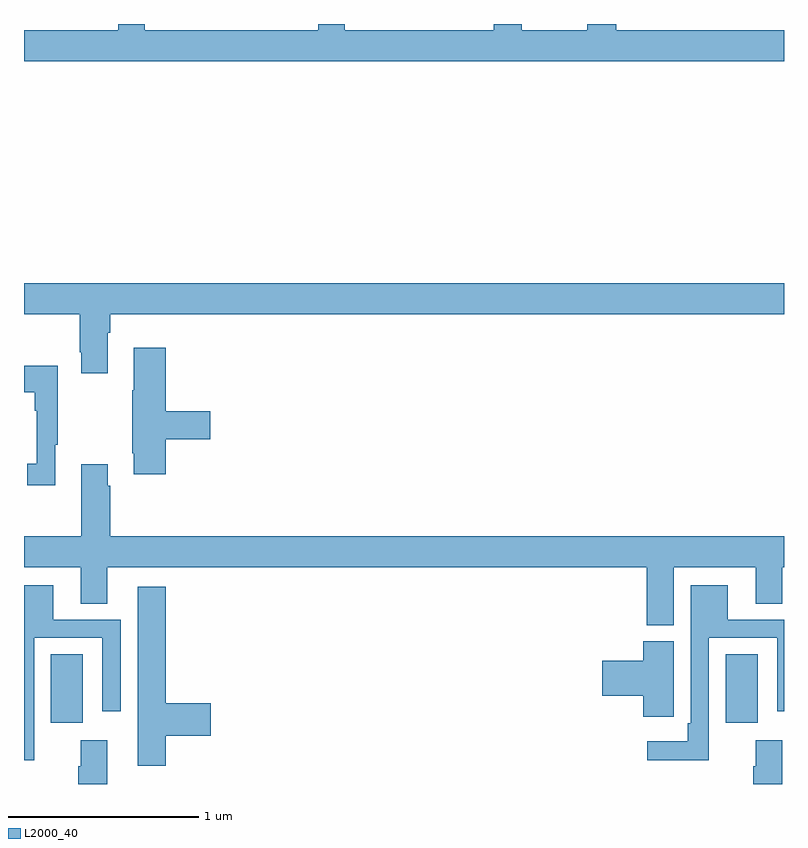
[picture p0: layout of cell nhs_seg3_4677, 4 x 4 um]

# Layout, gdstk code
import gdstk
lib = gdstk.Library(unit=1e-6, precision=1e-09)
def R(c, l, rs):  # rectangles x0, y0, x1, y1
    for r in rs: c.add(gdstk.rectangle(r[:2], r[2:], *l))
def P(c, l, *ps):  # polygons
    for p in ps: c.add(gdstk.Polygon(p, *l))
L2000_40 = (2000, 40)

nhs_seg3_4677 = lib.new_cell('nhs_seg3_4677')
R(nhs_seg3_4677, L2000_40, [(361.142,742.722,361.309,743.084), (364.694,742.722,364.861,743.084)])
P(nhs_seg3_4677, L2000_40, [(365,746.368),(364.118,746.368),(364.118,746.4),(363.965,746.4),(363.965,746.368),(363.621,746.368),(363.621,746.4),(363.473,746.4),(363.473,746.368),(362.689,746.368),(362.689,746.4),(362.549,746.4),(362.549,746.368),(361.635,746.368),(361.635,746.4),(361.497,746.4),(361.497,746.368),(361,746.368),(361,746.204),(365,746.204)],
  [(361.441,744.776),(361.454,744.776),(361.454,744.872),(365,744.872),(365,745.036),(361,745.036),(361,744.872),(361.294,744.872),(361.294,744.673),(361.301,744.673),(361.301,744.561),(361.441,744.561)],
  [(361.745,744.215),(361.981,744.215),(361.981,744.362),(361.745,744.362),(361.745,744.697),(361.577,744.697),(361.577,744.473),(361.57,744.473),(361.57,744.142),(361.577,744.142),(361.577,744.03),(361.745,744.03)],
  [(361.165,744.185),(361.177,744.185),(361.177,744.601),(361,744.601),(361,744.461),(361.056,744.461),(361.056,744.365),(361.068,744.365),(361.068,744.086),(361.017,744.086),(361.017,743.973),(361.165,743.973)],
  [(364.42,743.54),(364.85,743.54),(364.85,743.35),(364.99,743.35),(364.99,743.54),(365,743.54),(365,743.704),(361.454,743.704),(361.454,743.969),(361.441,743.969),(361.441,744.082),(361.301,744.082),(361.301,743.704),(361,743.704),(361,743.54),(361.298,743.54),(361.298,743.35),(361.438,743.35),(361.438,743.54),(364.277,743.54),(364.277,743.236),(364.42,743.236)],
  [(361.053,743.169),(361.413,743.169),(361.413,742.782),(361.509,742.782),(361.509,743.265),(361.153,743.265),(361.153,743.446),(361,743.446),(361,742.526),(361.053,742.526)],
  [(364.605,743.169),(364.965,743.169),(364.965,742.782),(365,742.782),(365,743.265),(364.705,743.265),(364.705,743.446),(364.509,743.446),(364.509,742.72),(364.493,742.72),(364.493,742.624),(364.281,742.624),(364.281,742.526),(364.605,742.526)],
  [(361.745,742.655),(361.984,742.655),(361.984,742.826),(361.745,742.826),(361.745,743.437),(361.598,743.437),(361.598,742.497),(361.745,742.497)],
  [(364.419,742.867),(364.42,742.867),(364.42,743.151),(364.259,743.151),(364.259,743.048),(364.044,743.048),(364.044,742.865),(364.259,742.865),(364.259,742.755),(364.419,742.755)],
  [(361.438,742.63),(361.298,742.63),(361.298,742.493),(361.286,742.493),(361.286,742.4),(361.438,742.4)],
  [(364.99,742.63),(364.85,742.63),(364.85,742.493),(364.838,742.493),(364.838,742.4),(364.99,742.4)])

lib.write_gds('nhs_seg3_4677.gds')
